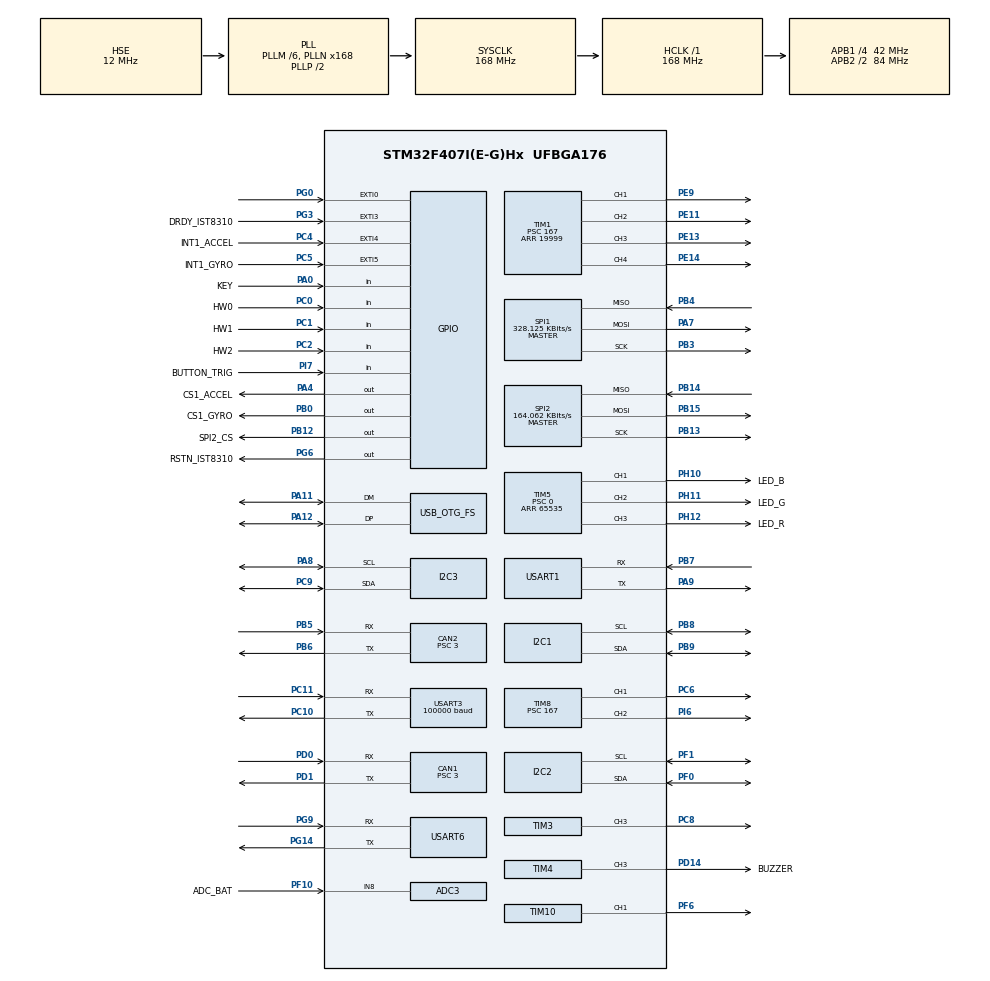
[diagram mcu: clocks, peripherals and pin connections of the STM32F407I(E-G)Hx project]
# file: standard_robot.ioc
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ADC1.Channel-0\#ChannelRegularConversion=ADC_CHANNEL_TEMPSENSOR
ADC1.ClockPrescaler=ADC_CLOCK_SYNC_PCLK_DIV6
ADC1.NbrOfConversionFlag=1
ADC1.Rank-0\#ChannelRegularConversion=1
ADC1.SamplingTime-0\#ChannelRegularConversion=ADC_SAMPLETIME_3CYCLES
ADC1.master=1
ADC3.Channel-0\#ChannelRegularConversion=ADC_CHANNEL_8
ADC3.ClockPrescaler=ADC_CLOCK_SYNC_PCLK_DIV6
ADC3.NbrOfConversionFlag=1
ADC3.Rank-0\#ChannelRegularConversion=1
ADC3.SamplingTime-0\#ChannelRegularConversion=ADC_SAMPLETIME_3CYCLES
CAN1.BS1=CAN_BS1_10TQ
CAN1.BS2=CAN_BS2_3TQ
CAN1.CalculateTimeQuantum=71.42857142857143
CAN1.Prescaler=3
CAN2.BS1=CAN_BS1_10TQ
CAN2.BS2=CAN_BS2_3TQ
CAN2.CalculateTimeQuantum=71.42857142857143
CAN2.Prescaler=3
Dma.I2C2_TX.2.Direction=DMA_MEMORY_TO_PERIPH
Dma.I2C2_TX.2.FIFOMode=DMA_FIFOMODE_DISABLE
Dma.I2C2_TX.2.Instance=DMA1_Stream7
Dma.I2C2_TX.2.MemDataAlignment=DMA_MDATAALIGN_BYTE
Dma.I2C2_TX.2.MemInc=DMA_MINC_ENABLE
Dma.I2C2_TX.2.Mode=DMA_NORMAL
Dma.I2C2_TX.2.PeriphDataAlignment=DMA_PDATAALIGN_BYTE
Dma.I2C2_TX.2.PeriphInc=DMA_PINC_DISABLE
Dma.I2C2_TX.2.Priority=DMA_PRIORITY_HIGH
Dma.Request0=SPI1_RX
Dma.Request1=SPI1_TX
Dma.Request2=I2C2_TX
Dma.Request3=USART3_RX
Dma.Request4=USART6_RX
Dma.Request5=USART6_TX
Dma.Request6=USART1_TX
Dma.Request7=USART1_RX
Dma.SPI1_RX.0.Direction=DMA_PERIPH_TO_MEMORY
Dma.SPI1_RX.0.FIFOMode=DMA_FIFOMODE_DISABLE
Dma.SPI1_RX.0.Instance=DMA2_Stream2
Dma.SPI1_RX.0.MemDataAlignment=DMA_MDATAALIGN_BYTE
Dma.SPI1_RX.0.MemInc=DMA_MINC_ENABLE
Dma.SPI1_RX.0.Mode=DMA_NORMAL
Dma.SPI1_RX.0.PeriphDataAlignment=DMA_PDATAALIGN_BYTE
Dma.SPI1_RX.0.PeriphInc=DMA_PINC_DISABLE
Dma.SPI1_RX.0.Priority=DMA_PRIORITY_VERY_HIGH
Dma.SPI1_TX.1.Direction=DMA_MEMORY_TO_PERIPH
Dma.SPI1_TX.1.FIFOMode=DMA_FIFOMODE_DISABLE
Dma.SPI1_TX.1.Instance=DMA2_Stream3
Dma.SPI1_TX.1.MemDataAlignment=DMA_MDATAALIGN_BYTE
Dma.SPI1_TX.1.MemInc=DMA_MINC_ENABLE
Dma.SPI1_TX.1.Mode=DMA_NORMAL
Dma.SPI1_TX.1.PeriphDataAlignment=DMA_PDATAALIGN_BYTE
Dma.SPI1_TX.1.PeriphInc=DMA_PINC_DISABLE
Dma.SPI1_TX.1.Priority=DMA_PRIORITY_HIGH
Dma.USART1_RX.7.Direction=DMA_PERIPH_TO_MEMORY
Dma.USART1_RX.7.FIFOMode=DMA_FIFOMODE_DISABLE
Dma.USART1_RX.7.Instance=DMA2_Stream5
Dma.USART1_RX.7.MemDataAlignment=DMA_MDATAALIGN_BYTE
Dma.USART1_RX.7.MemInc=DMA_MINC_ENABLE
Dma.USART1_RX.7.Mode=DMA_NORMAL
Dma.USART1_RX.7.PeriphDataAlignment=DMA_PDATAALIGN_BYTE
Dma.USART1_RX.7.PeriphInc=DMA_PINC_DISABLE
Dma.USART1_RX.7.Priority=DMA_PRIORITY_HIGH
Dma.USART1_TX.6.Direction=DMA_MEMORY_TO_PERIPH
Dma.USART1_TX.6.FIFOMode=DMA_FIFOMODE_DISABLE
Dma.USART1_TX.6.Instance=DMA2_Stream7
Dma.USART1_TX.6.MemDataAlignment=DMA_MDATAALIGN_BYTE
Dma.USART1_TX.6.MemInc=DMA_MINC_ENABLE
Dma.USART1_TX.6.Mode=DMA_NORMAL
Dma.USART1_TX.6.PeriphDataAlignment=DMA_PDATAALIGN_BYTE
Dma.USART1_TX.6.PeriphInc=DMA_PINC_DISABLE
Dma.USART1_TX.6.Priority=DMA_PRIORITY_MEDIUM
Dma.USART3_RX.3.Direction=DMA_PERIPH_TO_MEMORY
Dma.USART3_RX.3.FIFOMode=DMA_FIFOMODE_DISABLE
Dma.USART3_RX.3.Instance=DMA1_Stream1
Dma.USART3_RX.3.MemDataAlignment=DMA_MDATAALIGN_BYTE
Dma.USART3_RX.3.MemInc=DMA_MINC_ENABLE
Dma.USART3_RX.3.Mode=DMA_NORMAL
Dma.USART3_RX.3.PeriphDataAlignment=DMA_PDATAALIGN_BYTE
Dma.USART3_RX.3.PeriphInc=DMA_PINC_DISABLE
Dma.USART3_RX.3.Priority=DMA_PRIORITY_HIGH
Dma.USART6_RX.4.Direction=DMA_PERIPH_TO_MEMORY
Dma.USART6_RX.4.FIFOMode=DMA_FIFOMODE_DISABLE
Dma.USART6_RX.4.Instance=DMA2_Stream1
Dma.USART6_RX.4.MemDataAlignment=DMA_MDATAALIGN_BYTE
Dma.USART6_RX.4.MemInc=DMA_MINC_ENABLE
Dma.USART6_RX.4.Mode=DMA_NORMAL
Dma.USART6_RX.4.PeriphDataAlignment=DMA_PDATAALIGN_BYTE
Dma.USART6_RX.4.PeriphInc=DMA_PINC_DISABLE
Dma.USART6_RX.4.Priority=DMA_PRIORITY_HIGH
Dma.USART6_TX.5.Direction=DMA_MEMORY_TO_PERIPH
Dma.USART6_TX.5.FIFOMode=DMA_FIFOMODE_DISABLE
Dma.USART6_TX.5.Instance=DMA2_Stream6
Dma.USART6_TX.5.MemDataAlignment=DMA_MDATAALIGN_BYTE
Dma.USART6_TX.5.MemInc=DMA_MINC_ENABLE
Dma.USART6_TX.5.Mode=DMA_NORMAL
Dma.USART6_TX.5.PeriphDataAlignment=DMA_PDATAALIGN_BYTE
Dma.USART6_TX.5.PeriphInc=DMA_PINC_DISABLE
Dma.USART6_TX.5.Priority=DMA_PRIORITY_MEDIUM
FREERTOS.INCLUDE_eTaskGetState=1
FREERTOS.INCLUDE_pcTaskGetTaskName=1
FREERTOS.INCLUDE_uxTaskGetStackHighWaterMark=1
FREERTOS.INCLUDE_vTaskCleanUpResources=1
FREERTOS.INCLUDE_vTaskDelayUntil=1
FREERTOS.INCLUDE_xEventGroupSetBitFromISR=1
FREERTOS.INCLUDE_xQueueGetMutexHolder=1
FREERTOS.INCLUDE_xSemaphoreGetMutexHolder=1
FREERTOS.INCLUDE_xTaskAbortDelay=1
FREERTOS.INCLUDE_xTaskGetCurrentTaskHandle=1
FREERTOS.INCLUDE_xTaskGetHandle=1
FREERTOS.INCLUDE_xTimerPendFunctionCall=1
FREERTOS.Tasks01=test,24,128,test_task,As weak,NULL,Dynamic,NULL,NULL
FREERTOS.configTOTAL_HEAP_SIZE=24576
I2C1.I2C_Mode=I2C_Fast
I2C2.I2C_Mode=I2C_Fast
I2C3.I2C_Mode=I2C_Fast
Mcu.Family=STM32F4
Mcu.Name=STM32F407I(E-G)Hx
Mcu.Package=UFBGA176
NVIC.CAN1_RX0_IRQn=true\:6\:0\:true\:false\:true\:true\:true\:true\:true
NVIC.CAN2_RX0_IRQn=true\:6\:0\:true\:false\:true\:true\:true\:true\:true
NVIC.DMA1_Stream1_IRQn=true\:5\:0\:true\:false\:false\:true\:false\:false\:true
NVIC.DMA1_Stream7_IRQn=true\:5\:0\:true\:false\:false\:true\:false\:true\:true
NVIC.DMA2_Stream1_IRQn=true\:5\:0\:true\:false\:true\:true\:false\:true\:true
NVIC.DMA2_Stream2_IRQn=true\:5\:0\:true\:false\:false\:true\:false\:true\:true
NVIC.DMA2_Stream3_IRQn=true\:5\:0\:true\:false\:false\:true\:false\:true\:true
NVIC.DMA2_Stream5_IRQn=true\:5\:0\:false\:false\:true\:true\:false\:true\:true
NVIC.DMA2_Stream6_IRQn=true\:5\:0\:true\:false\:true\:true\:false\:true\:true
NVIC.DMA2_Stream7_IRQn=true\:5\:0\:true\:false\:true\:true\:false\:true\:true
NVIC.EXTI0_IRQn=true\:6\:0\:true\:false\:true\:true\:true\:true\:true
NVIC.EXTI3_IRQn=true\:5\:0\:true\:false\:true\:true\:true\:true\:true
NVIC.EXTI4_IRQn=true\:5\:0\:true\:false\:true\:true\:true\:true\:true
NVIC.EXTI9_5_IRQn=true\:5\:0\:true\:false\:true\:true\:true\:true\:true
NVIC.OTG_FS_IRQn=true\:5\:0\:false\:false\:true\:true\:false\:true\:true
NVIC.PriorityGroup=NVIC_PRIORITYGROUP_4
NVIC.USART3_IRQn=true\:4\:0\:true\:false\:false\:false\:true\:true\:true
NVIC.USART6_IRQn=true\:5\:0\:true\:false\:false\:true\:true\:true\:true
PA0-WKUP.GPIO_Label=KEY
PA0-WKUP.GPIO_PuPd=GPIO_PULLUP
PA0-WKUP.Signal=GPIO_Input
PA11.Mode=Device_Only
PA11.Signal=USB_OTG_FS_DM
PA12.Mode=Device_Only
PA12.Signal=USB_OTG_FS_DP
PA13.Mode=Serial_Wire
PA13.Signal=SYS_JTMS-SWDIO
PA14.Mode=Serial_Wire
PA14.Signal=SYS_JTCK-SWCLK
PA4.GPIO_Label=CS1_ACCEL
PA4.GPIO_PuPd=GPIO_PULLUP
PA4.GPIO_Speed=GPIO_SPEED_FREQ_HIGH
PA4.PinState=GPIO_PIN_SET
PA4.Signal=GPIO_Output
PA7.GPIO_PuPd=GPIO_PULLUP
PA7.Mode=Full_Duplex_Master
PA7.Signal=SPI1_MOSI
PA8.Mode=I2C
PA8.Signal=I2C3_SCL
PA9.Mode=Asynchronous
PA9.Signal=USART1_TX
PB0.GPIO_Label=CS1_GYRO
PB0.GPIO_PuPd=GPIO_PULLUP
PB0.GPIO_Speed=GPIO_SPEED_FREQ_HIGH
PB0.PinState=GPIO_PIN_SET
PB0.Signal=GPIO_Output
PB12.GPIO_Label=SPI2_CS
PB12.GPIO_PuPd=GPIO_PULLUP
PB12.GPIO_Speed=GPIO_SPEED_FREQ_MEDIUM
PB12.PinState=GPIO_PIN_SET
PB12.Signal=GPIO_Output
PB13.GPIO_PuPd=GPIO_PULLUP
PB13.Mode=Full_Duplex_Master
PB13.Signal=SPI2_SCK
PB14.GPIO_PuPd=GPIO_PULLUP
PB14.Mode=Full_Duplex_Master
PB14.Signal=SPI2_MISO
PB15.GPIO_PuPd=GPIO_PULLUP
PB15.Mode=Full_Duplex_Master
PB15.Signal=SPI2_MOSI
PB3.GPIO_PuPd=GPIO_PULLUP
PB3.Mode=Full_Duplex_Master
PB3.Signal=SPI1_SCK
PB4.GPIO_PuPd=GPIO_PULLUP
PB4.Mode=Full_Duplex_Master
PB4.Signal=SPI1_MISO
PB5.Mode=Slave
PB5.Signal=CAN2_RX
PB6.Mode=Slave
PB6.Signal=CAN2_TX
PB7.Mode=Asynchronous
PB7.Signal=USART1_RX
PB8.Mode=I2C
PB8.Signal=I2C1_SCL
PB9.Mode=I2C
PB9.Signal=I2C1_SDA
PC0.GPIO_Label=HW0
PC0.Signal=GPIO_Input
PC1.GPIO_Label=HW1
PC1.Signal=GPIO_Input
PC10.Mode=Asynchronous
PC10.Signal=USART3_TX
PC11.Mode=Asynchronous
PC11.Signal=USART3_RX
PC2.GPIO_Label=HW2
PC2.Signal=GPIO_Input
PC4.GPIO_Label=INT1_ACCEL
PC4.GPIO_ModeDefaultEXTI=GPIO_MODE_IT_FALLING
PC4.GPIO_PuPd=GPIO_PULLUP
PC4.Signal=GPXTI4
PC5.GPIO_Label=INT1_GYRO
PC5.GPIO_ModeDefaultEXTI=GPIO_MODE_IT_FALLING
PC5.GPIO_PuPd=GPIO_PULLUP
PC5.Signal=GPXTI5
PC6.GPIO_PuPd=GPIO_PULLUP
PC6.GPIO_Speed=GPIO_SPEED_FREQ_HIGH
PC6.Signal=S_TIM8_CH1
PC8.GPIO_PuPd=GPIO_PULLUP
PC8.GPIO_Speed=GPIO_SPEED_FREQ_HIGH
PC8.Signal=S_TIM3_CH3
PC9.Mode=I2C
PC9.Signal=I2C3_SDA
PD0.Mode=Master
PD0.Signal=CAN1_RX
PD1.Mode=Master
PD1.Signal=CAN1_TX
PD14.GPIO_Label=BUZZER
PD14.GPIO_PuPd=GPIO_PULLUP
PD14.GPIO_Speed=GPIO_SPEED_FREQ_VERY_HIGH
PD14.Signal=S_TIM4_CH3
PE11.GPIO_PuPd=GPIO_PULLUP
PE11.GPIO_Speed=GPIO_SPEED_FREQ_HIGH
PE11.Signal=S_TIM1_CH2
PE13.GPIO_PuPd=GPIO_PULLUP
PE13.GPIO_Speed=GPIO_SPEED_FREQ_HIGH
PE13.Signal=S_TIM1_CH3
PE14.GPIO_PuPd=GPIO_PULLUP
PE14.GPIO_Speed=GPIO_SPEED_FREQ_HIGH
PE14.Signal=S_TIM1_CH4
PE9.GPIO_PuPd=GPIO_PULLUP
PE9.GPIO_Speed=GPIO_SPEED_FREQ_HIGH
PE9.Signal=S_TIM1_CH1
PF0.Mode=I2C
PF0.Signal=I2C2_SDA
PF1.Mode=I2C
PF1.Signal=I2C2_SCL
PF10.GPIO_Label=ADC_BAT
PF10.Mode=IN8
PF10.Signal=ADC3_IN8
PF6.GPIO_PuPd=GPIO_PULLUP
PF6.GPIO_Speed=GPIO_SPEED_FREQ_HIGH
PF6.Signal=S_TIM10_CH1
PG0.GPIO_ModeDefaultEXTI=GPIO_MODE_IT_FALLING
PG0.GPIO_PuPd=GPIO_PULLUP
PG0.Signal=GPXTI0
PG14.Mode=Asynchronous
PG14.Signal=USART6_TX
PG3.GPIO_Label=DRDY_IST8310
PG3.GPIO_ModeDefaultEXTI=GPIO_MODE_IT_FALLING
PG3.GPIO_PuPd=GPIO_PULLUP
PG3.Signal=GPXTI3
PG6.GPIO_Label=RSTN_IST8310
PG6.GPIO_PuPd=GPIO_PULLUP
PG6.GPIO_Speed=GPIO_SPEED_FREQ_MEDIUM
PG6.PinState=GPIO_PIN_SET
PG6.Signal=GPIO_Output
PG9.Mode=Asynchronous
PG9.Signal=USART6_RX
PH0-OSC_IN.Mode=HSE-External-Oscillator
PH0-OSC_IN.Signal=RCC_OSC_IN
PH1-OSC_OUT.Mode=HSE-External-Oscillator
PH1-OSC_OUT.Signal=RCC_OSC_OUT
PH10.GPIO_Label=LED_B
PH10.GPIO_PuPd=GPIO_PULLUP
PH10.GPIO_Speed=GPIO_SPEED_FREQ_HIGH
PH10.Signal=S_TIM5_CH1
PH11.GPIO_Label=LED_G
PH11.GPIO_PuPd=GPIO_PULLUP
PH11.GPIO_Speed=GPIO_SPEED_FREQ_HIGH
PH11.Signal=S_TIM5_CH2
PH12.GPIO_Label=LED_R
PH12.GPIO_PuPd=GPIO_PULLUP
PH12.GPIO_Speed=GPIO_SPEED_FREQ_HIGH
PH12.Signal=S_TIM5_CH3
PI6.GPIO_PuPd=GPIO_PULLUP
PI6.GPIO_Speed=GPIO_SPEED_FREQ_HIGH
PI6.Signal=S_TIM8_CH2
PI7.GPIO_Label=BUTTON_TRIG
PI7.GPIO_PuPd=GPIO_PULLUP
PI7.Signal=GPIO_Input
ProjectManager.HeapSize=0x2000
ProjectManager.StackSize=0x2000
ProjectManager.TargetToolchain=MDK-ARM V5
RCC.48MHZClocksFreq_Value=48000000
RCC.AHBFreq_Value=168000000
RCC.APB1CLKDivider=RCC_HCLK_DIV4
RCC.APB1Freq_Value=42000000
RCC.APB1TimFreq_Value=84000000
RCC.APB2CLKDivider=RCC_HCLK_DIV2
RCC.APB2Freq_Value=84000000
RCC.APB2TimFreq_Value=168000000
RCC.CortexFreq_Value=168000000
RCC.HCLKFreq_Value=168000000
RCC.HSE_VALUE=12000000
RCC.HSI_VALUE=16000000
RCC.LSE_VALUE=32768
RCC.PLLM=6
RCC.PLLN=168
RCC.PLLQ=7
RCC.RCC_RTC_Clock_SourceVirtual=RCC_RTCCLKSOURCE_HSE_DIV30
RCC.RCC_RTC_Clock_Source_FROM_HSE=RCC_RTCCLKSOURCE_HSE_DIV30
RCC.SYSCLKFreq_VALUE=168000000
RCC.SYSCLKSource=RCC_SYSCLKSOURCE_PLLCLK
RCC.VCOOutputFreq_Value=336000000
RTC.AsynchPrediv=124
RTC.SynchPrediv=3199
SH.S_TIM10_CH1.0=TIM10_CH1,PWM Generation1 CH1
SH.S_TIM1_CH1.0=TIM1_CH1,PWM Generation1 CH1
SH.S_TIM1_CH2.0=TIM1_CH2,PWM Generation2 CH2
SH.S_TIM1_CH3.0=TIM1_CH3,PWM Generation3 CH3
SH.S_TIM1_CH4.0=TIM1_CH4,PWM Generation4 CH4
SH.S_TIM3_CH3.0=TIM3_CH3,PWM Generation3 CH3
SH.S_TIM4_CH3.0=TIM4_CH3,PWM Generation3 CH3
SH.S_TIM5_CH1.0=TIM5_CH1,PWM Generation1 CH1
SH.S_TIM5_CH2.0=TIM5_CH2,PWM Generation2 CH2
SH.S_TIM5_CH3.0=TIM5_CH3,PWM Generation3 CH3
SH.S_TIM8_CH1.0=TIM8_CH1,PWM Generation1 CH1
SH.S_TIM8_CH2.0=TIM8_CH2,PWM Generation2 CH2
SPI1.BaudRatePrescaler=SPI_BAUDRATEPRESCALER_256
SPI1.CLKPhase=SPI_PHASE_2EDGE
SPI1.CLKPolarity=SPI_POLARITY_HIGH
SPI1.CalculateBaudRate=328.125 KBits/s
SPI1.Direction=SPI_DIRECTION_2LINES
SPI1.Mode=SPI_MODE_MASTER
SPI1.VirtualType=VM_MASTER
SPI2.BaudRatePrescaler=SPI_BAUDRATEPRESCALER_256
SPI2.CLKPhase=SPI_PHASE_2EDGE
SPI2.CLKPolarity=SPI_POLARITY_HIGH
SPI2.CalculateBaudRate=164.062 KBits/s
SPI2.Direction=SPI_DIRECTION_2LINES
SPI2.Mode=SPI_MODE_MASTER
SPI2.VirtualType=VM_MASTER
TIM1.Channel-PWM\ Generation1\ CH1=TIM_CHANNEL_1
TIM1.Channel-PWM\ Generation2\ CH2=TIM_CHANNEL_2
TIM1.Channel-PWM\ Generation3\ CH3=TIM_CHANNEL_3
TIM1.Channel-PWM\ Generation4\ CH4=TIM_CHANNEL_4
TIM1.Period=19999
TIM1.Prescaler=167
TIM1.Pulse-PWM\ Generation1\ CH1=1000
TIM1.Pulse-PWM\ Generation2\ CH2=1000
TIM1.Pulse-PWM\ Generation3\ CH3=1000
TIM1.Pulse-PWM\ Generation4\ CH4=1000
TIM10.Channel=TIM_CHANNEL_1
TIM10.Period=4999
TIM3.Channel-PWM\ Generation3\ CH3=TIM_CHANNEL_3
TIM3.Period=8399
TIM4.Channel-PWM\ Generation3\ CH3=TIM_CHANNEL_3
TIM4.Period=65535
TIM4.Prescaler=167
TIM5.Channel-PWM\ Generation1\ CH1=TIM_CHANNEL_1
TIM5.Channel-PWM\ Generation2\ CH2=TIM_CHANNEL_2
TIM5.Channel-PWM\ Generation3\ CH3=TIM_CHANNEL_3
TIM5.Period=65535
TIM5.Prescaler=0
TIM8.Channel-PWM\ Generation1\ CH1=TIM_CHANNEL_1
TIM8.Channel-PWM\ Generation2\ CH2=TIM_CHANNEL_2
TIM8.Period=19999
TIM8.Prescaler=167
TIM8.Pulse-PWM\ Generation1\ CH1=1000
TIM8.Pulse-PWM\ Generation2\ CH2=1000
USART1.VirtualMode=VM_ASYNC
USART3.BaudRate=100000
USART3.Parity=PARITY_EVEN
USART3.VirtualMode=VM_ASYNC
USART6.VirtualMode=VM_ASYNC
USB_DEVICE.CLASS_NAME_FS=CDC
USB_DEVICE.VirtualMode-CDC_FS=Cdc
USB_DEVICE.VirtualModeFS=Cdc_FS
USB_OTG_FS.VirtualMode=Device_Only
VP_ADC1_TempSens_Input.Mode=IN-TempSens
VP_ADC1_Vref_Input.Mode=IN-Vrefint
VP_CRC_VS_CRC.Mode=CRC_Activate
VP_FREERTOS_VS_CMSIS_V1.Mode=CMSIS_V1
VP_RNG_VS_RNG.Mode=RNG_Activate
VP_RTC_VS_RTC_Activate.Mode=RTC_Enabled
VP_TIM10_VS_ClockSourceINT.Mode=Enable_Timer
VP_TIM1_VS_ClockSourceINT.Mode=Internal
VP_TIM3_VS_ClockSourceINT.Mode=Internal
VP_TIM4_VS_ClockSourceINT.Mode=Internal
VP_TIM5_VS_ClockSourceINT.Mode=Internal
VP_TIM8_VS_ClockSourceINT.Mode=Internal
VP_USB_DEVICE_VS_USB_DEVICE_CDC_FS.Mode=CDC_FS
board=custom

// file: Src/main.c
/* USER CODE BEGIN Header */
/**
  ******************************************************************************
  * @file           : main.c
  * @brief          : Main program body
  ******************************************************************************
  * @attention
  *
  * <h2><center>&copy; Copyright (c) 2019 STMicroelectronics.
  * All rights reserved.</center></h2>
  *
  * This software component is licensed by ST under Ultimate Liberty license
  * SLA0044, the "License"; You may not use this file except in compliance with
  * the License. You may obtain a copy of the License at:
  *                             www.st.com/SLA0044
  *
  ******************************************************************************
  */
/* USER CODE END Header */

#include "main.h"
#include "cmsis_os.h"
#include "adc.h"
#include "can.h"
#include "crc.h"
#include "dma.h"
#include "i2c.h"
#include "rng.h"
#include "rtc.h"
#include "spi.h"
#include "tim.h"
#include "usart.h"
#include "usb_device.h"
#include "gpio.h"

/* USER CODE BEGIN Includes */
#include "bsp_can.h"
#include "bsp_delay.h"
#include "bsp_usart.h"
#include "remote_control.h"

#include "calibrate_task.h"
#include "chassis_task.h"
#include "detect_task.h"
#include "gimbal_task.h"
#include "INS_task.h"
#include "led_flow_task.h"
#include "oled_task.h"
#include "referee_usart_task.h"
#include "usb_task.h"
#include "voltage_task.h"
#include "stm32.h"
#include "stm32_private.h"
#include "rm_usart.h"
/* USER CODE END Includes */

void SystemClock_Config(void);
void MX_FREERTOS_Init(void);

int main(void)
{

  /* MCU Configuration--------------------------------------------------------*/

  /* Reset of all peripherals, Initializes the Flash interface and the Systick. */
 		HAL_Init();

  /* Configure the system clock */
  SystemClock_Config();

  /* Initialize all configured peripherals */
  MX_GPIO_Init();
  MX_DMA_Init();
  MX_ADC1_Init();
  MX_ADC3_Init();
  MX_CAN1_Init();
  MX_CAN2_Init();
  MX_I2C1_Init();
  MX_SPI1_Init();
  MX_TIM4_Init();
  MX_TIM5_Init();
  MX_USART3_UART_Init();
  MX_TIM8_Init();
  MX_CRC_Init();
  MX_RNG_Init();
  MX_I2C2_Init();
  MX_I2C3_Init();
  MX_RTC_Init();
  MX_SPI2_Init();
  MX_TIM1_Init();
  MX_TIM3_Init();
  MX_TIM10_Init();
  MX_USART1_UART_Init();
  MX_USART6_UART_Init();
  /* USER CODE BEGIN 2 */
    can_filter_init();
    delay_init();
    cali_param_init();
    remote_control_init();
    vision_init();
    // usart1_tx_dma_init();
  /* USER CODE END 2 */

  /* Call init function for freertos objects (in freertos.c) */
  MX_FREERTOS_Init();

  /* Start scheduler */
  osKernelStart();

  /* We should never get here as control is now taken by the scheduler */

  /* Infinite loop */
  while (1)
  {

  }
}

void SystemClock_Config(void)
{
  RCC_OscInitTypeDef RCC_OscInitStruct = {0};
  RCC_ClkInitTypeDef RCC_ClkInitStruct = {0};
  RCC_PeriphCLKInitTypeDef PeriphClkInitStruct = {0};

  /** Configure the main internal regulator output voltage
  */
  __HAL_RCC_PWR_CLK_ENABLE();
  __HAL_PWR_VOLTAGESCALING_CONFIG(PWR_REGULATOR_VOLTAGE_SCALE1);
  /** Initializes the CPU, AHB and APB busses clocks
  */
  RCC_OscInitStruct.OscillatorType = RCC_OSCILLATORTYPE_HSE;
  RCC_OscInitStruct.HSEState = RCC_HSE_ON;
  RCC_OscInitStruct.PLL.PLLState = RCC_PLL_ON;
  RCC_OscInitStruct.PLL.PLLSource = RCC_PLLSOURCE_HSE;
  RCC_OscInitStruct.PLL.PLLM = 6;
  RCC_OscInitStruct.PLL.PLLN = 168;
  RCC_OscInitStruct.PLL.PLLP = RCC_PLLP_DIV2;
  RCC_OscInitStruct.PLL.PLLQ = 7;
  if (HAL_RCC_OscConfig(&RCC_OscInitStruct) != HAL_OK)
  {
    Error_Handler();
  }
  /** Initializes the CPU, AHB and APB busses clocks
  */
  RCC_ClkInitStruct.ClockType = RCC_CLOCKTYPE_HCLK|RCC_CLOCKTYPE_SYSCLK
                              |RCC_CLOCKTYPE_PCLK1|RCC_CLOCKTYPE_PCLK2;
  RCC_ClkInitStruct.SYSCLKSource = RCC_SYSCLKSOURCE_PLLCLK;
  RCC_ClkInitStruct.AHBCLKDivider = RCC_SYSCLK_DIV1;
  RCC_ClkInitStruct.APB1CLKDivider = RCC_HCLK_DIV4;
  RCC_ClkInitStruct.APB2CLKDivider = RCC_HCLK_DIV2;

  if (HAL_RCC_ClockConfig(&RCC_ClkInitStruct, FLASH_LATENCY_5) != HAL_OK)
  {
    Error_Handler();
  }
  PeriphClkInitStruct.PeriphClockSelection = RCC_PERIPHCLK_RTC;
  PeriphClkInitStruct.RTCClockSelection = RCC_RTCCLKSOURCE_HSE_DIV30;
  if (HAL_RCCEx_PeriphCLKConfig(&PeriphClkInitStruct) != HAL_OK)
  {
    Error_Handler();
  }
}

void Error_Handler(void)
{
}

/************************ (C) COPYRIGHT STMicroelectronics *****END OF FILE****/

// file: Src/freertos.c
/* USER CODE BEGIN Header */
/**
  ******************************************************************************
  * File Name          : freertos.c
  * Description        : Code for freertos applications
  ******************************************************************************
  * @attention
  *
  * <h2><center>&copy; Copyright (c) 2019 STMicroelectronics.
  * All rights reserved.</center></h2>
  *
  * This software component is licensed by ST under Ultimate Liberty license
  * SLA0044, the "License"; You may not use this file except in compliance with
  * the License. You may obtain a copy of the License at:
  *                             www.st.com/SLA0044
  *
  ******************************************************************************
  */
/* USER CODE END Header */

#include "FreeRTOS.h"
#include "task.h"
#include "main.h"
#include "cmsis_os.h"

/* USER CODE BEGIN Includes */

#include "calibrate_task.h"
#include "chassis_task.h"
#include "detect_task.h"
#include "gimbal_task.h"
#include "INS_task.h"
#include "shoot_task.h"
#include "led_flow_task.h"
#include "oled_task.h"
#include "referee_usart_task.h"
#include "usb_task.h"
#include "voltage_task.h"
#include "ui_update.h"
/* USER CODE END Includes */

/* USER CODE BEGIN PTD */

osThreadId calibrate_tast_handle;
osThreadId chassisTaskHandle;
osThreadId detect_handle;
osThreadId gimbalTaskHandle;
osThreadId imuTaskHandle;
osThreadId led_RGB_flow_handle;
osThreadId oled_handle;
osThreadId referee_usart_task_handle;
osThreadId usb_task_handle;
osThreadId battery_voltage_handle;
osThreadId shoot_task_handle;
osThreadId UI_taskhandle;

/* USER CODE END PTD */

osThreadId testHandle;

void test_task(void const * argument);

extern void MX_USB_DEVICE_Init(void);
void MX_FREERTOS_Init(void); /* (MISRA C 2004 rule 8.1) */

/* GetIdleTaskMemory prototype (linked to static allocation support) */
void vApplicationGetIdleTaskMemory( StaticTask_t **ppxIdleTaskTCBBuffer, StackType_t **ppxIdleTaskStackBuffer, uint32_t *pulIdleTaskStackSize );

/* GetTimerTaskMemory prototype (linked to static allocation support) */
void vApplicationGetTimerTaskMemory( StaticTask_t **ppxTimerTaskTCBBuffer, StackType_t **ppxTimerTaskStackBuffer, uint32_t *pulTimerTaskStackSize );

/* USER CODE BEGIN GET_IDLE_TASK_MEMORY */
static StaticTask_t xIdleTaskTCBBuffer;
static StackType_t xIdleStack[configMINIMAL_STACK_SIZE];

void vApplicationGetIdleTaskMemory( StaticTask_t **ppxIdleTaskTCBBuffer, StackType_t **ppxIdleTaskStackBuffer, uint32_t *pulIdleTaskStackSize )
{
  *ppxIdleTaskTCBBuffer = &xIdleTaskTCBBuffer;
  *ppxIdleTaskStackBuffer = &xIdleStack[0];
  *pulIdleTaskStackSize = configMINIMAL_STACK_SIZE;
  /* place for user code */
}
/* USER CODE END GET_IDLE_TASK_MEMORY */

/* USER CODE BEGIN GET_TIMER_TASK_MEMORY */
static StaticTask_t xTimerTaskTCBBuffer;
static StackType_t xTimerStack[configTIMER_TASK_STACK_DEPTH];

void vApplicationGetTimerTaskMemory( StaticTask_t **ppxTimerTaskTCBBuffer, StackType_t **ppxTimerTaskStackBuffer, uint32_t *pulTimerTaskStackSize )
{
  *ppxTimerTaskTCBBuffer = &xTimerTaskTCBBuffer;
  *ppxTimerTaskStackBuffer = &xTimerStack[0];
  *pulTimerTaskStackSize = configTIMER_TASK_STACK_DEPTH;
  /* place for user code */
}
/* USER CODE END GET_TIMER_TASK_MEMORY */

void MX_FREERTOS_Init(void) {

  /* Create the thread(s) */
  /* definition and creation of test */
  osThreadDef(test, test_task, osPriorityNormal, 0, 128);
  testHandle = osThreadCreate(osThread(test), NULL);

  /* USER CODE BEGIN RTOS_THREADS */
  /* add threads, ... */
    osThreadDef(cali, calibrate_task, osPriorityNormal, 0, 512);
    calibrate_tast_handle = osThreadCreate(osThread(cali), NULL);

//    osThreadDef(ChassisTask, chassis_task, osPriorityAboveNormal, 0, 512);
//    chassisTaskHandle = osThreadCreate(osThread(ChassisTask), NULL);

    osThreadDef(DETECT, detect_task, osPriorityNormal, 0, 256);
    detect_handle = osThreadCreate(osThread(DETECT), NULL);

    osThreadDef(gimbalTask, gimbal_task, osPriorityHigh, 0, 512);
    gimbalTaskHandle = osThreadCreate(osThread(gimbalTask), NULL);

    osThreadDef(imuTask, INS_task, osPriorityRealtime, 0, 1024);
    imuTaskHandle = osThreadCreate(osThread(imuTask), NULL);

    osThreadDef(led, led_RGB_flow_task, osPriorityNormal, 0, 256);
    led_RGB_flow_handle = osThreadCreate(osThread(led), NULL);

    osThreadDef(OLED, oled_task, osPriorityLow, 0, 256);
    oled_handle = osThreadCreate(osThread(OLED), NULL);

    osThreadDef(REFEREE, referee_usart_task, osPriorityNormal, 0, 128);
    referee_usart_task_handle = osThreadCreate(osThread(REFEREE), NULL);

    osThreadDef(USBTask, usb_task, osPriorityNormal, 0, 128);
    usb_task_handle = osThreadCreate(osThread(USBTask), NULL);

    osThreadDef(BATTERY_VOLTAGE, battery_voltage_task, osPriorityNormal, 0, 128);
    battery_voltage_handle = osThreadCreate(osThread(BATTERY_VOLTAGE), NULL);

    osThreadDef(SHOOT, shoot_task, osPriorityNormal, 0, 512);
    shoot_task_handle = osThreadCreate(osThread(SHOOT), NULL);

		osThreadDef(UI_Task, UI_tasks, osPriorityRealtime, 0, 1024);
    UI_taskhandle = osThreadCreate(osThread(UI_Task), NULL);

  /* USER CODE END RTOS_THREADS */

}

__weak void test_task(void const * argument)
{
  /* init code for USB_DEVICE */
  MX_USB_DEVICE_Init();

  for(;;)
  {
    osDelay(1);
  }
}

/************************ (C) COPYRIGHT STMicroelectronics *****END OF FILE****/
